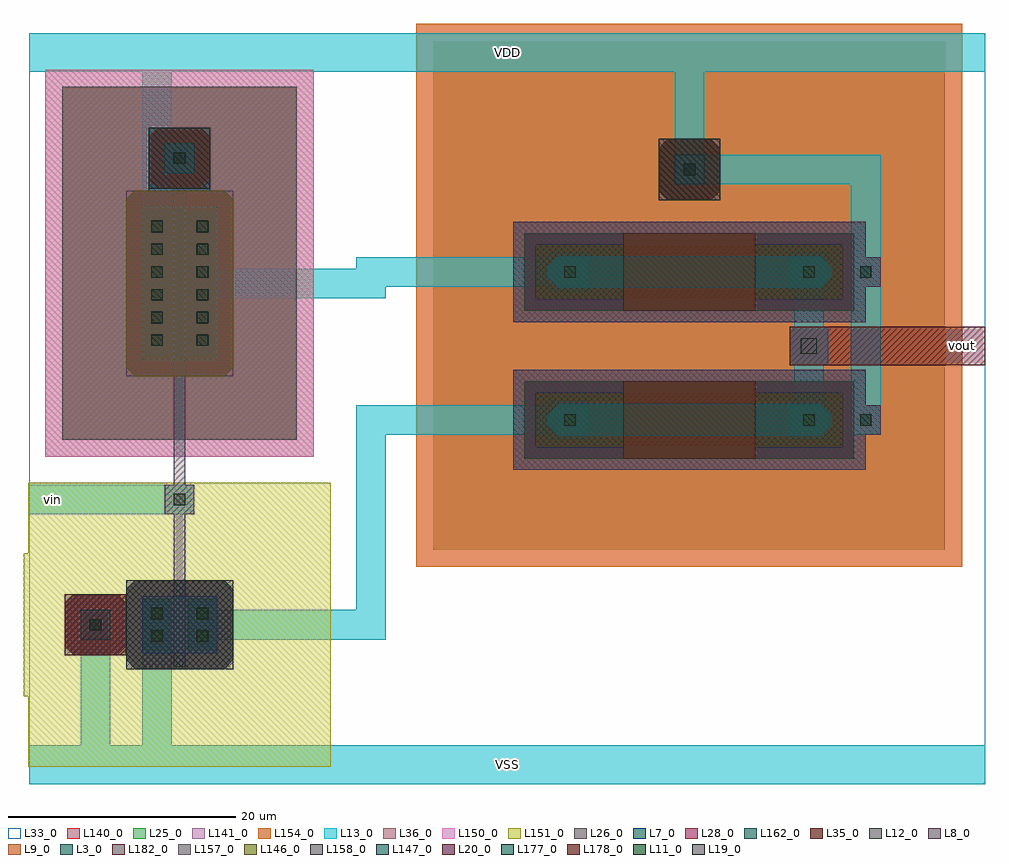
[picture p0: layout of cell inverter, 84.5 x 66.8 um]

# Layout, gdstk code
import gdstk
lib = gdstk.Library(unit=1e-6, precision=5e-08)
def R(c, l, rs):  # rectangles x0, y0, x1, y1
    for r in rs: c.add(gdstk.rectangle(r[:2], r[2:], *l))
def A(c, l, x, y, w, h, nx, ny, dx, dy):  # array of equal rectangles
    R(c, l, [(x+i*dx, y+j*dy, x+i*dx+w, y+j*dy+h) for i in range(nx) for j in range(ny)])
def P(c, l, *ps):  # polygons
    for p in ps: c.add(gdstk.Polygon(p, *l))
L3_0 = (3, 0)
L7_0 = (7, 0)
L8_0 = (8, 0)
L9_0 = (9, 0)
L11_0 = (11, 0)
L12_0 = (12, 0)
L13_0 = (13, 0)
L19_0 = (19, 0)
L20_0 = (20, 0)
L25_0 = (25, 0)
L26_0 = (26, 0)
L28_0 = (28, 0)
L33_0 = (33, 0)
L35_0 = (35, 0)
L36_0 = (36, 0)
L140_0 = (140, 0)
L141_0 = (141, 0)
L146_0 = (146, 0)
L147_0 = (147, 0)
L150_0 = (150, 0)
L151_0 = (151, 0)
L154_0 = (154, 0)
L157_0 = (157, 0)
L158_0 = (158, 0)
L162_0 = (162, 0)
L177_0 = (177, 0)
L178_0 = (178, 0)
L182_0 = (182, 0)

inverter = lib.new_cell('inverter')
R(inverter, L3_0, [(9.9,11.5,16.5,16.5), (4.5,12.7,7.1,15.3), (9.9,37.25,16.5,50.75), (56.7,52.7,59.3,55.3), (11.9,53.7,14.5,56.3)])
P(inverter, L3_0, [(46.5,43.6),(45.5,44.6),(45.5,45.4),(46.5,46.4),(69.5,46.4),(70.5,45.4),(70.5,44.6),(69.5,43.6)],
  [(46.5,30.6),(45.5,31.6),(45.5,32.4),(46.5,33.4),(69.5,33.4),(70.5,32.4),(70.5,31.6),(69.5,30.6)])
R(inverter, L7_0, [(43.5,28.6,72.5,35.4), (43.5,41.6,72.5,48.4)])
P(inverter, L7_0, [(3.9,11.3),(3.1,12.1),(3.1,15.9),(3.9,16.7),(7.7,16.7),(8.5,15.9),(8.5,12.1),(7.7,11.3)],
  [(56.1,51.3),(55.3,52.1),(55.3,55.9),(56.1,56.7),(59.9,56.7),(60.7,55.9),(60.7,52.1),(59.9,51.3)],
  [(9.3,35.85),(8.5,36.65),(8.5,51.35),(9.3,52.15),(10.5,52.15),(10.5,56.9),(11.3,57.7),(15.1,57.7),(15.9,56.9),(15.9,52.15),(17.1,52.15),(17.9,51.35),(17.9,36.65),(17.1,35.85)])
R(inverter, L8_0, [(12.7,10.3,13.7,17.7), (12.7,13.5,13.7,44.5), (11.9,23.7,14.5,26.3), (72.2,30.7,74.8,33.3), (12.7,36.05,13.7,51.95), (72.2,43.7,74.8,46.3)])
P(inverter, L8_0, [(42.5,40.6),(42.5,47.4),(44.5,47.4),(44.5,42.6),(71.5,42.6),(71.5,47.4),(42.5,47.4),(42.5,49.4),(73.5,49.4),(73.5,40.6)],
  [(42.5,27.6),(42.5,34.4),(44.5,34.4),(44.5,29.6),(71.5,29.6),(71.5,34.4),(42.5,34.4),(42.5,36.4),(73.5,36.4),(73.5,27.6)])
R(inverter, L9_0, [(52.2,28.6,63.8,35.4), (52.2,41.6,63.8,48.4)])
P(inverter, L9_0, [(9.3,10.1),(8.5,10.9),(8.5,17.1),(9.3,17.9),(17.1,17.9),(17.9,17.1),(17.9,10.9),(17.1,10.1)],
  [(56.1,51.3),(55.3,52.1),(55.3,55.9),(56.1,56.7),(59.9,56.7),(60.7,55.9),(60.7,52.1),(59.9,51.3)],
  [(11.3,52.3),(10.5,53.1),(10.5,56.9),(11.3,57.7),(15.1,57.7),(15.9,56.9),(15.9,53.1),(15.1,52.3)])
A(inverter, L11_0, 10.7, 38.5, 1, 1, 1, 6, 0, 2)
A(inverter, L11_0, 14.7, 38.5, 1, 1, 1, 6, 0, 2)
R(inverter, L11_0, [(10.7,12.5,11.7,13.5), (14.7,12.5,15.7,13.5), (5.3,13.5,6.3,14.5), (10.7,14.5,11.7,15.5), (14.7,14.5,15.7,15.5), (12.7,24.5,13.7,25.5), (47,31.5,48,32.5), (68,31.5,69,32.5), (73,31.5,74,32.5), (47,44.5,48,45.5), (68,44.5,69,45.5), (73,44.5,74,45.5), (57.5,53.5,58.5,54.5), (12.7,54.5,13.7,55.5)])
R(inverter, L12_0, [(43.5,28.6,72.5,35.4), (43.5,41.6,72.5,48.4)])
A(inverter, L13_0, 66.8, 30.3, 3.4, 3.4, 1, 3, 0, 6.5)
R(inverter, L13_0, [(0,0,84,3.4), (4.5,0.4,7.1,15.3), (9.9,0.4,12.5,15.3), (9.9,11.7,12.5,16.3), (13.9,11.7,16.5,16.3), (4.5,12.7,7.1,15.3), (13.9,12.7,31.3,15.3), (28.7,12.7,31.3,33.3), (0,23.7,13.2,26.3), (11.9,23.7,14.5,26.3), (45.8,30.3,49.2,33.7), (28.7,30.7,48.8,33.3), (67.2,30.7,69.8,46.3), (72.2,30.7,74.8,55.3), (72.2,30.7,74.8,33.3), (9.9,37.7,12.5,50.3), (13.9,37.7,16.5,50.3), (9.9,42.7,12.5,65.6), (13.9,42.7,31.3,45.3), (28.7,42.7,31.3,46.3), (45.8,43.3,49.2,46.7), (28.7,43.7,48.8,46.3), (72.2,43.7,74.8,46.3), (56.7,52.7,59.3,65.6), (56.7,52.7,74.8,55.3), (56.7,52.7,59.3,55.3), (9.9,53.7,14.5,56.3), (11.9,53.7,14.5,56.3), (0,62.6,84,66)])
R(inverter, L19_0, [(67.8,37.8,69.2,39.2)])
R(inverter, L20_0, [(66.8,36.8,70.2,40.2), (68.5,36.8,84,40.2)])
R(inverter, L25_0, [(35.5,20.6,80.5,65.3), (2.9,30.25,23.5,61.3)])
R(inverter, L26_0, [(2.9,30.25,23.5,61.3)])
R(inverter, L28_0, [(43.5,28.6,72.5,35.4), (43.5,41.6,72.5,48.4)])
P(inverter, L28_0, [(3.9,11.3),(3.1,12.1),(3.1,15.9),(3.9,16.7),(7.7,16.7),(8.5,15.9),(8.5,12.1),(7.7,11.3)],
  [(9.3,35.85),(8.5,36.65),(8.5,51.35),(9.3,52.15),(17.1,52.15),(17.9,51.35),(17.9,36.65),(17.1,35.85)])
R(inverter, L33_0, [(0,0,84,66)])
R(inverter, L35_0, [(43.5,28.6,72.5,35.4), (43.5,41.6,72.5,48.4)])
P(inverter, L35_0, [(9.3,10.1),(8.5,10.9),(8.5,11.3),(3.9,11.3),(3.1,12.1),(3.1,15.9),(3.9,16.7),(8.5,16.7),(8.5,17.1),(9.3,17.9),(17.1,17.9),(17.9,17.1),(17.9,10.9),(17.1,10.1)],
  [(56.1,51.3),(55.3,52.1),(55.3,55.9),(56.1,56.7),(59.9,56.7),(60.7,55.9),(60.7,52.1),(59.9,51.3)],
  [(11.3,52.3),(10.5,53.1),(10.5,56.9),(11.3,57.7),(15.1,57.7),(15.9,56.9),(15.9,53.1),(15.1,52.3)])
R(inverter, L36_0, [(1.4,28.75,25,62.8)])
R(inverter, L140_0, [(35.5,20.6,80.5,65.3), (2.9,30.25,23.5,61.3)])
R(inverter, L141_0, [(34,19.1,82,66.8)])
P(inverter, L146_0, [(9.3,35.85),(8.5,36.65),(8.5,51.35),(9.3,52.15),(17.1,52.15),(17.9,51.35),(17.9,36.65),(17.1,35.85)])
P(inverter, L147_0, [(9.3,10.1),(8.5,10.9),(8.5,17.1),(9.3,17.9),(17.1,17.9),(17.9,17.1),(17.9,10.9),(17.1,10.1)])
R(inverter, L150_0, [(1.4,28.75,25,62.8)])
P(inverter, L151_0, [(-0.1,1.5),(-0.1,7.7),(-0.5,7.7),(-0.5,20.3),(-0.1,20.3),(-0.1,26.5),(26.5,26.5),(26.5,1.5)])
R(inverter, L154_0, [(34,19.1,82,66.8)])
R(inverter, L157_0, [(8.5,35.85,17.9,52.15)])
R(inverter, L158_0, [(8.5,10.1,17.9,17.9)])
P(inverter, L162_0, [(42.5,27.6),(42.5,36.4),(73.5,36.4),(73.5,33.3),(74.8,33.3),(74.8,30.7),(73.5,30.7),(73.5,27.6)],
  [(42.5,40.6),(42.5,49.4),(73.5,49.4),(73.5,46.3),(74.8,46.3),(74.8,43.7),(73.5,43.7),(73.5,40.6)])
R(inverter, L177_0, [(55.3,51.3,60.7,56.7), (10.5,52.3,15.9,57.7)])
R(inverter, L178_0, [(3.1,11.3,8.5,16.7)])
R(inverter, L182_0, [(52.2,28.6,63.8,35.4), (52.2,41.6,63.8,48.4)])
P(inverter, L182_0, [(56.1,51.3),(55.3,52.1),(55.3,55.9),(56.1,56.7),(59.9,56.7),(60.7,55.9),(60.7,52.1),(59.9,51.3)])
inverter.add(gdstk.Label('vin', (2,25), layer=48, texttype=0))
inverter.add(gdstk.Label('VDD', (42,64.3), layer=48, texttype=0))
inverter.add(gdstk.Label('VSS', (42,1.7), layer=48, texttype=0))
inverter.add(gdstk.Label('vout', (82,38.5), layer=49, texttype=0))

lib.write_gds('inverter.gds')
